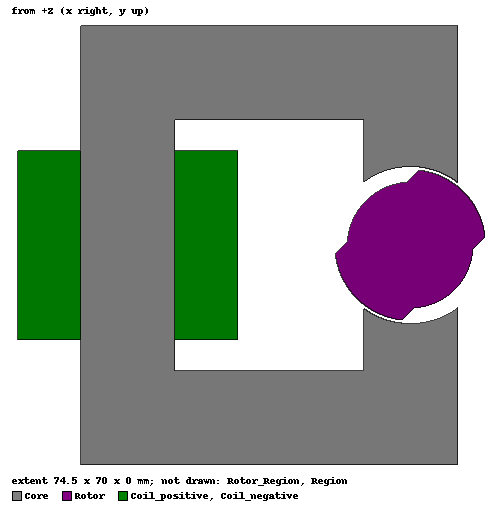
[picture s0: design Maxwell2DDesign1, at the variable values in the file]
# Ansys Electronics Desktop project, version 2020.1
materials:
  vacuum: permittivity=1
  steel_1008: permeability{HUnit=A_per_meter BUnit=tesla curve (0, 0) (159.2, 0.2402) (318.3, 0.8654) (477.5, 1.1106) (636.6, 1.2458) (795.8, 1.331) (1591.5, 1.5) (3183.1, 1.6) (4774.6, 1.683) (6366.2, 1.741) (7957.7, 1.78) (15915.5, 1.905) (31831, 2.025) (47746.5, 2.085) (63662, 2.13) (79577.5, 2.165) (159155, 2.28) (318310, 2.485) (397887, 2.5851)} conductivity=2000000
  copper: permeability=0.999991 conductivity=58000000
  air: permittivity=1.0006 permeability=1.0000004

design Maxwell2DDesign1 (Maxwell 2D, Transient, XY geometry, model units mm)
options: ComputeTransientInductance ModelDepth=0.02meter
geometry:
  Rectangle1 = rectangle(corner=(-52.5mm, -35mm, 0mm), x_size=15mm, y_size=35mm)
  Rectangle2 = rectangle(corner=(-37.5mm, -35mm, 0mm), x_size=45mm, y_size=15mm)
  Rectangle3 = rectangle(corner=(-7.5mm, -20mm, 0mm), x_size=15mm, y_size=20mm)
  Rectangle1.unite(Rectangle2, Rectangle3)
  Core [steel_1008] = Rectangle1.duplicate_mirror(point=(-22mm, 0mm, 0mm), normal=(0mm, 1mm, 0mm))
  Core.unite(Rectangle1)
  Circle1 = circle(normal=Z, centre=(0mm, 0mm, 0mm), radius=12.5mm)
  Core.subtract(Circle1)
  Rotor [steel_1008] = circle(normal=Z, centre=(0mm, 0mm, 0mm), radius=10mm)
  Coil_positive [copper] = rectangle(corner=(-62.5mm, -15mm, 0mm), x_size=10mm, y_size=30mm)
  Coil_negative [copper] = rectangle(corner=(-37.5mm, -15mm, 0mm), x_size=10mm, y_size=30mm)
  Rectangle6 = rectangle(corner=(-7.5mm, -12mm, 0mm), x_size=15mm, y_size=24mm)
  Circle3 = circle(normal=Z, centre=(0mm, 0mm, 0mm), radius=12mm)
  Rectangle6.intersect(Circle3)
  Rotor.unite(Rectangle6)
  Rotor.rotate(axis=Z, angle=-45deg)
  Rotor_Region [air] = circle(normal=Z, centre=(0mm, 0mm, 0mm), radius=12.25mm)
  Region [air] = circle(normal=Z, centre=(-20mm, 0mm, 0mm), radius=86.023253mm)
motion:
  MotionSetup1: Band Move_Type=Rotate Coordinate_System=Global Axis=Z Is_Positive=true InitPos=0deg Angular_Velocity=0deg_per_sec Moment_of_Inertia=2.4e-06 Damping=0 Load_Torque=0NewtonMeter Objects=Rotor_Region
  Moving1: Moving Objects=Rotor
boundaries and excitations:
  Balloon1: Balloon Edges=Region.edge(1 of 1)
  Coil_negative: Coil Objects=Coil_negative Conductor_number=250 Winding=Winding1 PolarityType=Negative
  Coil_positive: Coil Objects=Coil_positive Conductor_number=250 Winding=Winding1 PolarityType=Positive
  Winding1: Winding Group Type=Current IsSolid=false Current=3A ParallelBranchesNum=1
  eddy effects on: Coil_positive, Coil_negative
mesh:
  Rotating_Region_Length: LengthBased RefineInside Objects=Rotor_Region NumMaxElem=5000
  Coil_Positive_Length: LengthBased RefineInside Objects=Coil_positive NumMaxElem=100
  Coil_Negative_Length: LengthBased RefineInside Objects=Coil_negative NumMaxElem=100
  Rotor_Length: LengthBased RefineInside Objects=Rotor NumMaxElem=1000
  Core_Length: LengthBased RefineInside Objects=Core NumMaxElem=1000
  Length1: LengthBased RefineInside Objects=Region NumMaxElem=1000
  initial mesh: MeshMethod=AnsoftTAU
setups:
  Setup1: Transient NonlinearSolverResidual=0.0001 StopTime=0.03125s TimeStep=0.00025s SaveFieldsType=Custom SweepRanges{0s to 0.03125s step 0.00025s} NumberSolveSteps=1 RangeStart=0s RangeEnd=0.1s InitialTimeStep=0.02s MinTimeStep=0.001s MaxTimeStep=0.003s TimeStepErrTolerance=0.0001
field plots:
  Mesh1: MeshPlots over Core, Rotor, Coil_positive, Coil_negative, Rotor_Region on Setup1 : Transient at Time=-1
  Mag_B1: B over Core, Rotor, Rotor_Region on Setup1 : Transient at Time=0.0095s
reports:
  Torque Plot 1: Moving1.Torque vs Time on Setup1 : Transient
  Winding Plot 1: L(Winding1,Winding1) vs Time on Setup1 : Transient
  Torque Plot 2: Moving1.Torque vs Moving1.Position on Setup1 : Transient
